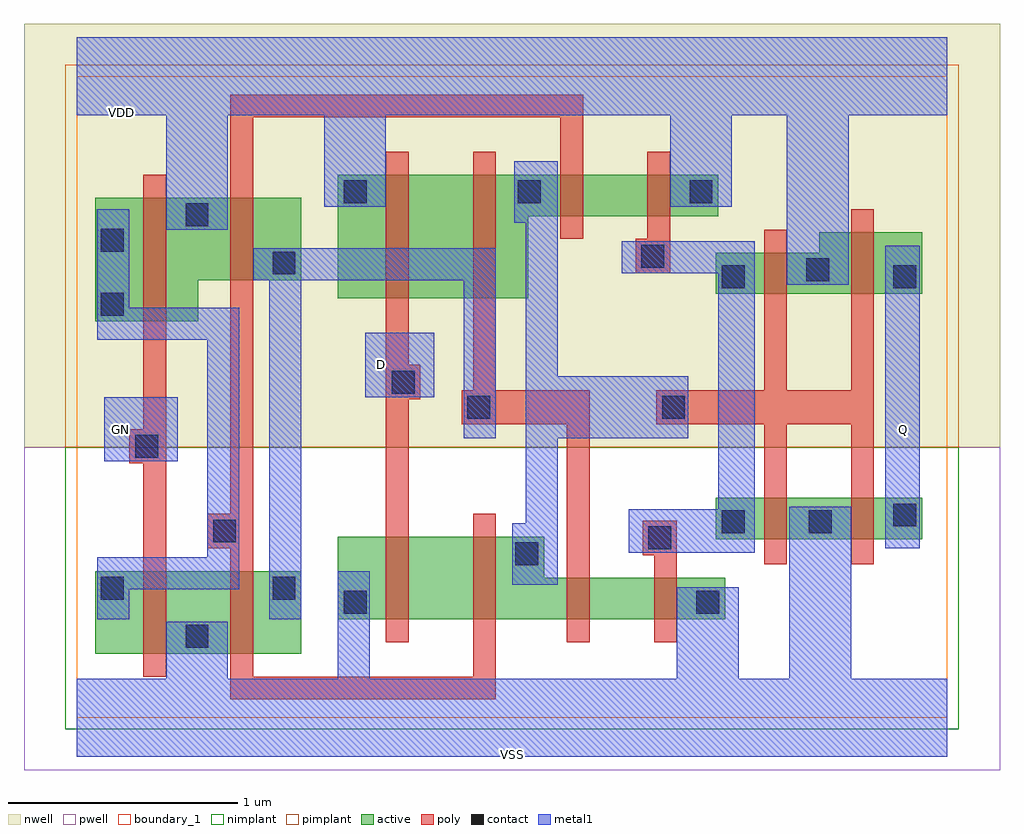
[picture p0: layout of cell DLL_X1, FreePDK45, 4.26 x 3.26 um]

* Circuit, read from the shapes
.subckt DLL_X1 D GN Q VDD VSS
M1 VSS GN n1 VSUBS nfet w=0.36u l=0.1u
M2 n2 n1 VSS VSUBS nfet w=0.36u l=0.1u
M3 n3 D VSS VSUBS nfet w=0.36u l=0.1u
M4 n4 n1 n3 VSUBS nfet w=0.36u l=0.1u
M5 n5 n2 n4 VSUBS nfet w=0.18u l=0.1u
M6 VSS n6 n5 VSUBS nfet w=0.18u l=0.1u
M7 VSS n4 n6 VSUBS nfet w=0.18u l=0.1u
M8 Q n4 VSS VSUBS nfet w=0.18u l=0.1u
M9 VDD GN n1 n7 pfet w=0.54u l=0.1u
M10 n2 n1 VDD n7 pfet w=0.36u l=0.1u
M11 n8 D VDD n7 pfet w=0.54u l=0.1u
M12 n4 n2 n8 n7 pfet w=0.54u l=0.1u
M13 n9 n1 n4 n7 pfet w=0.18u l=0.1u
M14 VDD n6 n9 n7 pfet w=0.18u l=0.1u
M15 VDD n4 n6 n7 pfet w=0.18u l=0.1u
M16 Q n4 VDD n7 pfet w=0.27u l=0.1u
.ends

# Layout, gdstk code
import gdstk
lib = gdstk.Library(unit=1e-6, precision=1e-09)
def R(c, l, rs):  # rectangles x0, y0, x1, y1
    for r in rs: c.add(gdstk.rectangle(r[:2], r[2:], *l))
def P(c, l, *ps):  # polygons
    for p in ps: c.add(gdstk.Polygon(p, *l))
active = (1, 0)
pwell = (2, 0)
nwell = (3, 0)
nimplant = (4, 0)
pimplant = (5, 0)
poly = (9, 0)
contact = (10, 0)
metal1 = (11, 0)
boundary_1 = (235, 1)

dll_x1 = lib.new_cell('DLL_X1')
R(dll_x1, active, [(0.08,0.28,0.98,0.64), (2.79,0.78,3.69,0.96)])
P(dll_x1, active, [(2.79,1.85),(3.69,1.85),(3.69,2.12),(3.24,2.12),(3.24,2.03),(2.79,2.03)],
  [(1.14,0.43),(2.83,0.43),(2.83,0.61),(2.04,0.61),(2.04,0.79),(1.14,0.79)],
  [(1.14,1.83),(1.97,1.83),(1.97,2.19),(2.8,2.19),(2.8,2.37),(1.14,2.37)],
  [(0.08,1.73),(0.53,1.73),(0.53,1.91),(0.98,1.91),(0.98,2.27),(0.08,2.27)])
R(dll_x1, pwell, [(-0.23,-0.23,4.03,1.18)])
R(dll_x1, nwell, [(-0.23,1.18,4.03,3.03)])
R(dll_x1, nimplant, [(-0.05,-0.05,3.85,1.18)])
R(dll_x1, pimplant, [(-0.05,1.18,3.85,2.85)])
P(dll_x1, poly, [(2.53,1.28),(3,1.28),(3,0.67),(3.1,0.67),(3.1,1.28),(3.38,1.28),(3.38,0.67),(3.48,0.67),(3.48,2.22),(3.38,2.22),(3.38,1.43),(3.1,1.43),(3.1,2.13),(3,2.13),(3,1.43),(2.53,1.43)],
  [(2.47,0.71),(2.52,0.71),(2.52,0.33),(2.62,0.33),(2.62,0.86),(2.47,0.86)],
  [(2.44,1.94),(2.59,1.94),(2.59,2.47),(2.49,2.47),(2.49,2.09),(2.44,2.09)],
  [(1.68,1.28),(2.14,1.28),(2.14,0.33),(2.24,0.33),(2.24,1.43),(1.83,1.43),(1.83,2.47),(1.73,2.47),(1.73,1.43),(1.68,1.43)],
  [(0.77,2.62),(2.11,2.62),(2.11,2.09),(2.21,2.09),(2.21,2.72),(0.67,2.72),(0.67,0.89),(0.57,0.89),(0.57,0.74),(0.67,0.74),(0.67,0.08),(1.83,0.08),(1.83,0.89),(1.73,0.89),(1.73,0.18),(0.77,0.18)],
  [(1.35,0.33),(1.45,0.33),(1.45,1.39),(1.5,1.39),(1.5,1.54),(1.45,1.54),(1.45,2.47),(1.35,2.47)],
  [(0.23,1.11),(0.29,1.11),(0.29,0.18),(0.39,0.18),(0.39,2.37),(0.29,2.37),(0.29,1.26),(0.23,1.26)])
R(dll_x1, contact, [(0.475,0.305,0.575,0.405), (1.165,0.455,1.265,0.555), (2.705,0.455,2.805,0.555), (0.105,0.515,0.205,0.615), (0.855,0.515,0.955,0.615), (1.915,0.665,2.015,0.765), (2.495,0.735,2.595,0.835), (0.595,0.765,0.695,0.865), (2.815,0.805,2.915,0.905), (3.195,0.805,3.295,0.905), (3.565,0.835,3.665,0.935), (0.255,1.135,0.355,1.235), (1.705,1.305,1.805,1.405), (2.555,1.305,2.655,1.405), (1.375,1.415,1.475,1.515), (0.105,1.755,0.205,1.855), (2.815,1.875,2.915,1.975), (3.565,1.875,3.665,1.975), (3.185,1.905,3.285,2.005), (0.855,1.935,0.955,2.035), (2.465,1.965,2.565,2.065), (0.105,2.035,0.205,2.135), (0.475,2.145,0.575,2.245), (1.165,2.245,1.265,2.345), (1.925,2.245,2.025,2.345), (2.675,2.245,2.775,2.345)])
R(dll_x1, metal1, [(3.53,0.74,3.68,2.06), (3.53,0.74,3.68,2.06), (0.12,1.12,0.44,1.4), (0.12,1.12,0.44,1.4), (1.26,1.4,1.56,1.68), (1.26,1.4,1.56,1.68)])
P(dll_x1, metal1, [(0,-0.17),(3.8,-0.17),(3.8,0.17),(3.38,0.17),(3.38,0.92),(3.11,0.92),(3.11,0.17),(2.89,0.17),(2.89,0.57),(2.62,0.57),(2.62,0.17),(1.28,0.17),(1.28,0.64),(1.14,0.64),(1.14,0.17),(0.66,0.17),(0.66,0.42),(0.39,0.42),(0.39,0.17),(0,0.17)],
  [(0,2.63),(0.39,2.63),(0.39,2.13),(0.66,2.13),(0.66,2.63),(1.08,2.63),(1.08,2.23),(1.35,2.23),(1.35,2.63),(2.59,2.63),(2.59,2.23),(2.86,2.23),(2.86,2.63),(3.1,2.63),(3.1,1.89),(3.37,1.89),(3.37,2.63),(3.8,2.63),(3.8,2.97),(0,2.97)],
  [(0,2.63),(0.39,2.63),(0.39,2.13),(0.66,2.13),(0.66,2.63),(1.08,2.63),(1.08,2.23),(1.35,2.23),(1.35,2.63),(2.59,2.63),(2.59,2.23),(2.86,2.23),(2.86,2.63),(3.1,2.63),(3.1,1.89),(3.37,1.89),(3.37,2.63),(3.8,2.63),(3.8,2.97),(0,2.97)],
  [(0,-0.17),(3.8,-0.17),(3.8,0.17),(3.38,0.17),(3.38,0.92),(3.11,0.92),(3.11,0.17),(2.89,0.17),(2.89,0.57),(2.62,0.57),(2.62,0.17),(1.28,0.17),(1.28,0.64),(1.14,0.64),(1.14,0.17),(0.66,0.17),(0.66,0.42),(0.39,0.42),(0.39,0.17),(0,0.17)],
  [(2.38,1.94),(2.8,1.94),(2.8,0.91),(2.41,0.91),(2.41,0.72),(2.96,0.72),(2.96,2.08),(2.38,2.08)],
  [(1.91,2.16),(1.96,2.16),(1.96,0.85),(1.9,0.85),(1.9,0.58),(2.1,0.58),(2.1,1.22),(2.67,1.22),(2.67,1.49),(2.1,1.49),(2.1,2.43),(1.91,2.43)],
  [(0.77,1.91),(0.84,1.91),(0.84,0.43),(0.98,0.43),(0.98,1.91),(1.69,1.91),(1.69,1.22),(1.83,1.22),(1.83,2.05),(0.77,2.05)],
  [(0.09,1.65),(0.57,1.65),(0.57,0.7),(0.09,0.7),(0.09,0.43),(0.23,0.43),(0.23,0.56),(0.71,0.56),(0.71,1.79),(0.23,1.79),(0.23,2.22),(0.09,2.22)])
R(dll_x1, boundary_1, [(0,0,3.8,2.8)])
dll_x1.add(gdstk.Label('VSS', (1.9,-0.16), layer=11, texttype=0))
dll_x1.add(gdstk.Label('VDD', (0.195,2.64), layer=11, texttype=0))
dll_x1.add(gdstk.Label('Q', (3.61,1.26), layer=11, texttype=0))
dll_x1.add(gdstk.Label('GN', (0.19,1.26), layer=11, texttype=0))
dll_x1.add(gdstk.Label('D', (1.33,1.54), layer=11, texttype=0))

lib.write_gds('DLL_X1.gds')
